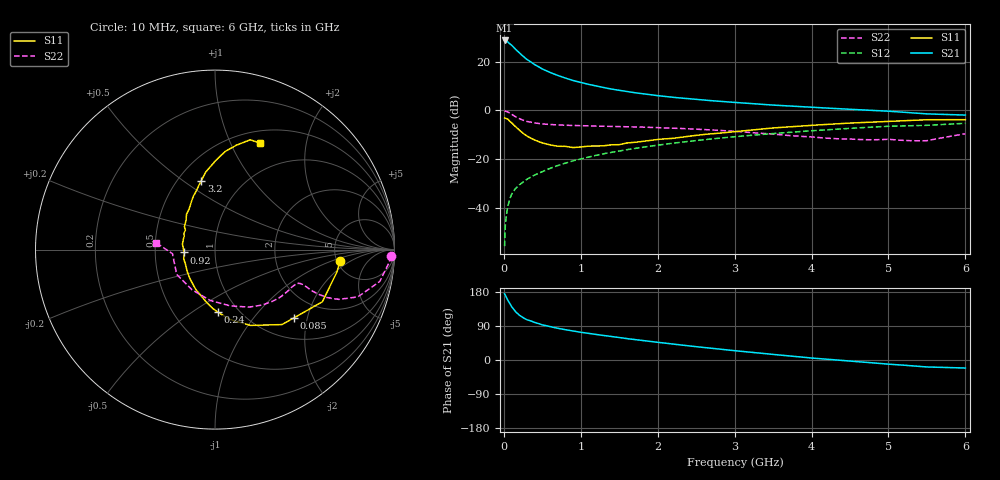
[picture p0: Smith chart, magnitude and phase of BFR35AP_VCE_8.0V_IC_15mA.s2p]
! Infineon Technologies  Discrete & RF Semiconductors
! BFR35AP
! VCE =  8.0 V,  IC =  15 mA
! Common Emitter S-Parameters:  Nov 2015
# GHz  S  MA  R  50
!  f  S11  S21  S12  S22
! GHz  MAG  ANG  MAG  ANG  MAG  ANG  MAG  ANG
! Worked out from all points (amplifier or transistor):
!   210 points, 10 MHz to 6 GHz, reference 50 ohm
!   highest |S21| = 28.8 dB at 10 MHz (marker M1)
!   |S21| within 3 dB of that: start of sweep to 132.7 MHz
!   unconditionally stable (mu >= 1): 498.9 MHz to 2.792 GHz
!   at 185 MHz: K = 0.63, MSG = 27.7 dB, |S12| = -31.1 dB
!   at 1.52 GHz: K = 1.09, MAG = 10.6 dB, |S12| = -16.6 dB
!   at 6 GHz: K = 0.90, MSG = 1.7 dB, |S12| = -5.3 dB
!   S11 on the Smith chart (normalised r, x): 10 MHz: 5.32, -1.35; 85 MHz: 1.45, -1.66; 240 MHz: 0.80, -0.64; 920 MHz: 0.71, -0.02; 3.2 GHz: 0.65, +0.59; 6 GHz: 0.64, +1.30
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0.01  0.7001 -5.3  27.59 174.8  0.0016 82.0  0.9823 -2.1
0.02  0.6906 -10.4  27.05 170.4  0.0044 83.7  0.9705 -4.6
0.05  0.6651 -25.9  25.78 158.1  0.0103 77.4  0.9352 -10.9
0.085  0.5818 -40.7  23.02 146.4  0.0161 72.2  0.8657 -15.9
0.1  0.5603 -48.2  22.18 140.6  0.0186 71.0  0.8382 -18.3
0.15  0.4666 -64.9  18.32 127.5  0.0244 66.5  0.744 -21.9
0.2  0.3965 -78.3  15.37 118.5  0.0293 65.3  0.6765 -23.2
0.24  0.3481 -87.6  13.48 113.0  0.0326 65.1  0.6366 -23.3
0.26  0.3291 -91.9  12.66 110.5  0.0343 65.2  0.6199 -23.3
0.3  0.2974 -99.2  11.24 106.3  0.0381 66.0  0.593 -23.1
0.4  0.2465 -115.7  8.788 99.1  0.0466 66.7  0.5522 -22.2
0.5  0.2143 -130.6  7.142 92.7  0.0547 67.8  0.5267 -21.7
0.7  0.183 -154.2  5.254 83.7  0.0731 68.7  0.5028 -21.9
0.92  0.1726 -174.8  4.053 75.8  0.0933 68.4  0.4884 -23.3
1.02  0.1778 176.2  3.691 72.7  0.102 68.2  0.484 -24.2
1.4  0.1959 152.0  2.749 61.9  0.1368 66.1  0.4698 -28.8
2.02  0.2544 128.2  1.999 46.3  0.1944 60.9  0.4414 -38.5
3.1  0.3781 102.9  1.424 22.6  0.2964 49.6  0.361 -62.1
3.2  0.392 101.2  1.388 20.7  0.3056 48.3  0.3506 -65.0
4.1  0.5042 88.6  1.14 3.7  0.3902 37.9  0.2757 -99.6
5.1  0.6031 77.1  0.94 -12.3  0.475 23.9  0.2467 -152.2
6  0.6443 67.0  0.802 -21.2  0.5425 13.3  0.3305 173.3
